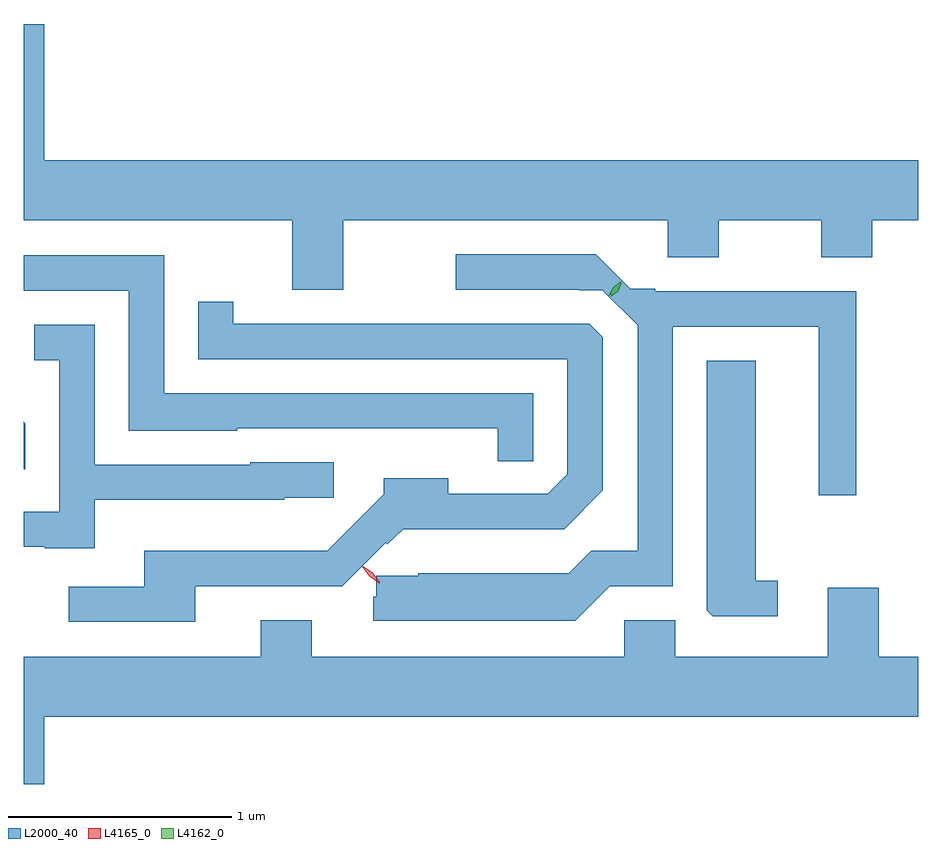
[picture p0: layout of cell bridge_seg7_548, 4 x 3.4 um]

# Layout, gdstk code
import gdstk
lib = gdstk.Library(unit=1e-6, precision=1e-09)
def P(c, l, *ps):  # polygons
    for p in ps: c.add(gdstk.Polygon(p, *l))
L2000_40 = (2000, 40)
L4162_0 = (4162, 0)
L4165_0 = (4165, 0)

bridge_seg7_548 = lib.new_cell('bridge_seg7_548')
P(bridge_seg7_548, L2000_40, [(1034.524,1764.034),(1034.431,1764.034),(1034.431,1763.156),(1035.631,1763.156),(1035.631,1762.846),(1035.859,1762.846),(1035.859,1763.156),(1037.311,1763.156),(1037.311,1762.991),(1037.539,1762.991),(1037.539,1763.156),(1037.996,1763.156),(1037.996,1762.991),(1038.224,1762.991),(1038.224,1763.156),(1038.431,1763.156),(1038.431,1763.424),(1034.524,1763.424)],
  [(1037.052,1761.521),(1037.334,1761.521),(1037.334,1762.681),(1037.986,1762.681),(1037.986,1761.928),(1038.154,1761.928),(1038.154,1762.839),(1037.254,1762.839),(1037.254,1762.85),(1037.142,1762.85),(1036.988,1763.004),(1036.363,1763.004),(1036.363,1762.846),(1036.915,1762.846),(1036.915,1762.844),(1037.018,1762.844),(1037.176,1762.686),(1037.176,1761.679),(1036.969,1761.679),(1036.869,1761.579),(1036.196,1761.579),(1036.196,1761.568),(1036.008,1761.568),(1036.008,1761.473),(1035.993,1761.473),(1035.993,1761.366),(1036.897,1761.366)],
  [(1036.709,1762.384),(1035.059,1762.384),(1035.059,1762.999),(1034.431,1762.999),(1034.431,1762.841),(1034.901,1762.841),(1034.901,1762.216),(1035.385,1762.216),(1035.385,1762.226),(1036.551,1762.226),(1036.551,1762.078),(1036.709,1762.078)],
  [(1035.199,1761.521),(1035.856,1761.521),(1036.049,1761.715),(1036.057,1761.707),(1036.127,1761.776),(1036.847,1761.776),(1037.019,1761.949),(1037.019,1762.634),(1036.959,1762.694),(1035.369,1762.694),(1035.369,1762.793),(1035.211,1762.793),(1035.211,1762.536),(1036.861,1762.536),(1036.861,1762.022),(1036.774,1761.934),(1036.329,1761.934),(1036.329,1762.004),(1036.041,1762.004),(1036.041,1761.932),(1035.789,1761.679),(1034.971,1761.679),(1034.971,1761.519),(1034.632,1761.519),(1034.632,1761.361),(1035.199,1761.361)],
  [(1034.749,1761.906),(1035.595,1761.906),(1035.595,1761.916),(1035.818,1761.916),(1035.818,1762.074),(1035.445,1762.074),(1035.445,1762.064),(1034.749,1762.064),(1034.749,1762.689),(1034.478,1762.689),(1034.478,1762.531),(1034.591,1762.531),(1034.591,1761.854),(1034.431,1761.854),(1034.431,1761.696),(1034.525,1761.696),(1034.525,1761.691),(1034.749,1761.691)],
  [(1037.803,1761.544),(1037.704,1761.544),(1037.704,1762.529),(1037.486,1762.529),(1037.486,1761.412),(1037.512,1761.386),(1037.803,1761.386)],
  [(1034.439,1762.247),(1034.431,1762.255),(1034.431,1762.043),(1034.439,1762.043)],
  [(1034.524,1760.936),(1038.431,1760.936),(1038.431,1761.204),(1038.254,1761.204),(1038.254,1761.514),(1038.026,1761.514),(1038.026,1761.204),(1037.344,1761.204),(1037.344,1761.369),(1037.116,1761.369),(1037.116,1761.204),(1035.719,1761.204),(1035.719,1761.369),(1035.491,1761.369),(1035.491,1761.204),(1034.431,1761.204),(1034.431,1760.636),(1034.524,1760.636)])
P(bridge_seg7_548, L4162_0, [(1037.055,1762.814),(1037.055,1762.815),(1037.073,1762.852),(1037.106,1762.877),(1037.106,1762.877),(1037.106,1762.877),(1037.089,1762.839),(1037.056,1762.814)],
  [(1037.045,1762.816),(1037.045,1762.816),(1037.067,1762.858),(1037.104,1762.887),(1037.105,1762.887),(1037.105,1762.886),(1037.082,1762.845),(1037.045,1762.816)])
P(bridge_seg7_548, L4165_0, [(1036.021,1761.534),(1035.976,1761.564),(1035.945,1761.607),(1035.945,1761.608),(1035.946,1761.608),(1035.99,1761.578),(1036.022,1761.535),(1036.022,1761.534)],
  [(1036.021,1761.538),(1035.978,1761.566),(1035.949,1761.608),(1035.949,1761.609),(1035.95,1761.609),(1035.992,1761.581),(1036.022,1761.539),(1036.022,1761.538)])

lib.write_gds('bridge_seg7_548.gds')
